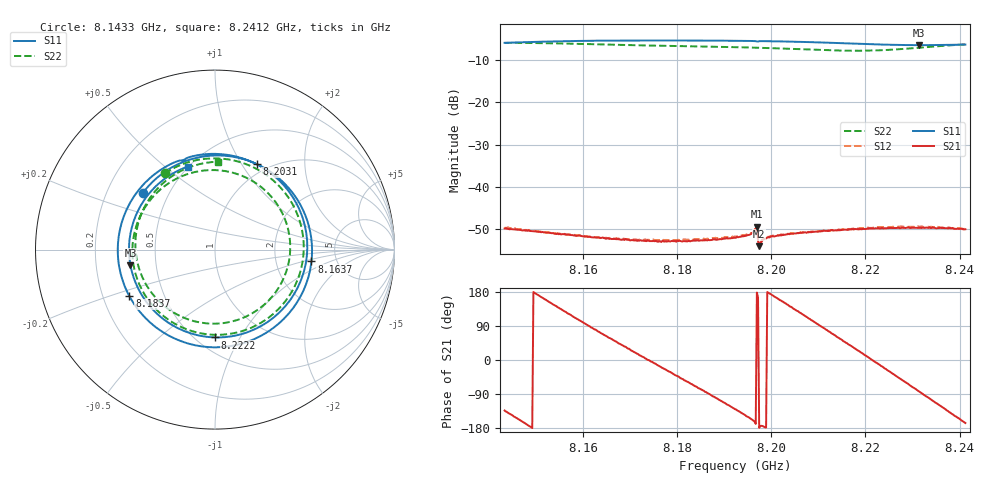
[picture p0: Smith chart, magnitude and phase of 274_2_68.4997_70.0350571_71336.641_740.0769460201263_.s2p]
#  HZ  S  RI  R  50.00
! Rohde & Schwarz Vector Network Analyzer
! Rohde-Schwarz,ZNB20-2Port,1311601062101988,3.16
! Created: UTC 3/20/2024, 5:00:53 PM
! freq[Hz]  re:S11  im:S11  re:S21  im:S21  re:S12  im:S12  re:S22  im:S22
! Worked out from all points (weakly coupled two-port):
!   401 points, 8.1433 GHz to 8.2412 GHz, reference 50 ohm
!   highest |S21| = -49.52 dB at 8.1969 GHz (marker M1); lowest = -54.1 dB at 8.1974 GHz (marker M2)
!   lowest |S11| = -6.4 dB at 8.2315 GHz (marker M3), VSWR 2.84, Z = 17.7 - j3.99 ohm
!   |S11| at or under -10 dB: nowhere
!   |S22| runs from -7.7 to -5.9 dB; largest |S21 - S12| = 0.00025
!   S11 on the Smith chart (normalised r, x): 8.1433 GHz: 0.36, +0.30; 8.1637 GHz: 3.24, -0.60; 8.1837 GHz: 0.31, -0.23; 8.2031 GHz: 0.88, +1.17; 8.2222 GHz: 0.61, -0.79; 8.2412 GHz: 0.50, +0.60
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8.14334e9  -0.4028 0.3139  -0.00219 -0.00231  -0.00228 -0.00233  -0.2805 0.4243
8.147501e9  -0.1798 0.4872  -0.00294 -0.000766  -0.00298 -0.000672  -0.0226 0.5081
8.151417e9  0.0812 0.5203  -0.00279 0.000811  -0.00281 0.000871  0.2212 0.455
8.155333e9  0.3238 0.4232  -0.00189 0.00194  -0.00189 0.00199  0.4055 0.2951
8.159739e9  0.5028 0.1922  -0.000498 0.00253  -0.000485 0.00254  0.4936 0.0421
8.163655e9  0.5375 -0.0658  0.000757 0.00235  0.000734 0.00233  0.4519 -0.1874
8.170509e9  0.306 -0.4502  0.00212 0.000932  0.00217 0.000967  0.1626 -0.4503
8.176138e9  -0.0589 -0.5412  0.00215 -0.00061  0.00222 -0.000635  -0.1538 -0.4455
8.183726e9  -0.4771 -0.2594  0.000835 -0.00213  0.000821 -0.00223  -0.4388 -0.1482
8.187887e9  -0.5413 0.02  -0.000296 -0.00234  -0.000391 -0.0024  -0.4517 0.0808
8.192293e9  -0.4431 0.3082  -0.00158 -0.00189  -0.00169 -0.00192  -0.3429 0.2971
8.196943e9  -0.1815 0.4977  -0.00334 0.000121  -0.00336 0.000293  -0.1228 0.4296
8.197433e9  -0.1574 0.5099  -0.00196 -3.15e-05  -0.00202 4.61e-05  -0.096 0.4355
8.203063e9  0.2317 0.4757  -0.00232 0.00138  -0.00228 0.00149  0.2132 0.3796
8.208692e9  0.4871 0.1806  -0.00071 0.00282  -0.00065 0.00285  0.4056 0.12
8.214811e9  0.4439 -0.2426  0.00177 0.00248  0.00186 0.00246  0.3372 -0.238
8.218728e9  0.2407 -0.4343  0.00287 0.00122  0.00301 0.00109  0.1386 -0.387
8.222154e9  0.0013 -0.4893  0.0032 -0.000341  0.00326 -0.000494  -0.0854 -0.4057
8.225091e9  -0.2038 -0.4392  0.00279 -0.00162  0.00279 -0.00178  -0.267 -0.3263
8.231455e9  -0.4711 -0.0867  0.000365 -0.00322  0.000178 -0.00334  -0.4426 0.0614
8.235861e9  -0.4278 0.2189  -0.00164 -0.00279  -0.00182 -0.00273  -0.3197 0.3407
8.241246e9  -0.1515 0.4627  -0.00303 -0.000739  -0.00309 -0.00058  0.0181 0.4894
